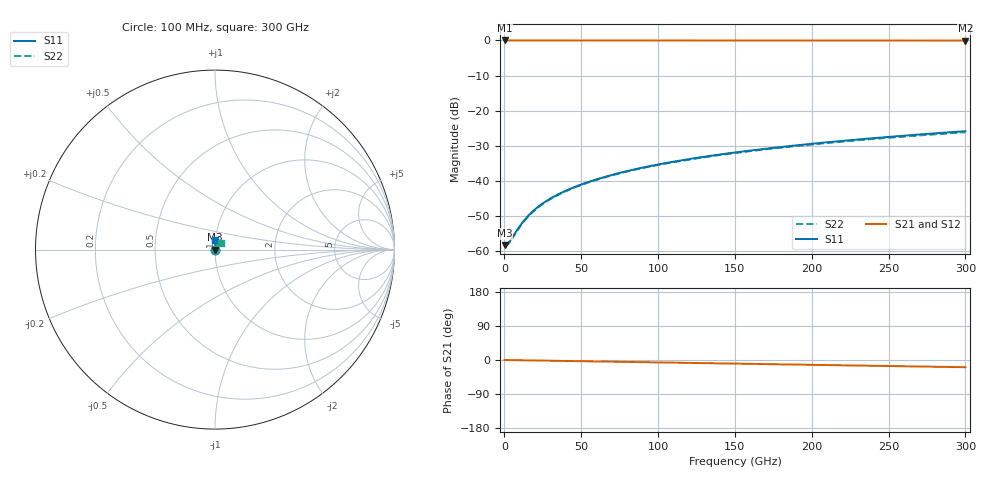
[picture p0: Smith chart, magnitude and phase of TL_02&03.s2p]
#  Hz  S  RI  R  50
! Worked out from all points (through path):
!   3000 points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, 100 MHz to 300 GHz, reference 50 ohm
!   highest |S21| = -0.01 dB at 200 MHz (marker M1); lowest = 0.0 dB at 300 GHz (marker M2)
!   group delay of S21, straight-line fit = 176 fs
!   lowest |S11| = -58.3 dB at 100 MHz (marker M3), VSWR 1.00, Z = 50.1 + j0.00193 ohm
!   |S11| at or under -10 dB: start of sweep to end of sweep
!   |S22| runs from -58.5 to -26.1 dB; largest |S21 - S12| = 0.001
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1e8  0.00122 1.92e-05  0.9988 -0.000114  0.9988 -0.000114  0.00119 1.86e-05
2e8  0.00122 3.84e-05  0.9988 -0.000227  0.9988 -0.000227  0.00119 3.71e-05
1.7e9  0.00122 0.000326  0.9988 -0.00193  0.9988 -0.00193  0.00119 0.000316
3.3e9  0.00123 0.000633  0.9987 -0.00375  0.9987 -0.00375  0.0012 0.000612
9.8e9  0.00128 0.00187  0.9986 -0.0111  0.9986 -0.0111  0.00129 0.0018
1.38e10  0.00133 0.00261  0.9985 -0.0156  0.9985 -0.0156  0.00138 0.00252
1.76e10  0.00138 0.0033  0.9984 -0.0199  0.9984 -0.0199  0.00149 0.00318
2.17e10  0.00144 0.00403  0.9982 -0.0244  0.9982 -0.0244  0.00162 0.00388
2.74e10  0.00152 0.00501  0.9979 -0.0307  0.9979 -0.0307  0.00182 0.00482
3.39e10  0.0016 0.00611  0.9976 -0.0379  0.9976 -0.0379  0.00206 0.00586
4.14e10  0.00166 0.00736  0.9972 -0.0462  0.9972 -0.0462  0.00234 0.00705
5.01e10  0.0017 0.00881  0.9967 -0.0557  0.9966 -0.0557  0.00268 0.00842
6.08e10  0.00174 0.0106  0.9959 -0.0675  0.9958 -0.0675  0.00316 0.0101
7.27e10  0.00177 0.0126  0.9948 -0.0807  0.9947 -0.0806  0.00378 0.012
8.57e10  0.00179 0.0148  0.9934 -0.0949  0.9933 -0.0949  0.00457 0.0139
1.001e11  0.0018 0.0172  0.9916 -0.1107  0.9915 -0.1107  0.00556 0.0161
1.236e11  0.00176 0.0211  0.9882 -0.1365  0.9881 -0.1364  0.00744 0.0194
1.501e11  0.00166 0.0255  0.9836 -0.1653  0.9833 -0.1653  0.00998 0.023
1.739e11  0.00153 0.0295  0.9787 -0.1912  0.9784 -0.1911  0.0126 0.0261
2.001e11  0.00132 0.0339  0.9725 -0.2194  0.9721 -0.2194  0.0159 0.0292
2.501e11  0.000813 0.0425  0.9584 -0.273  0.9578 -0.2728  0.0231 0.0343
3e11  0.000211 0.0513  0.9413 -0.3255  0.9403 -0.3252  0.0316 0.0381
